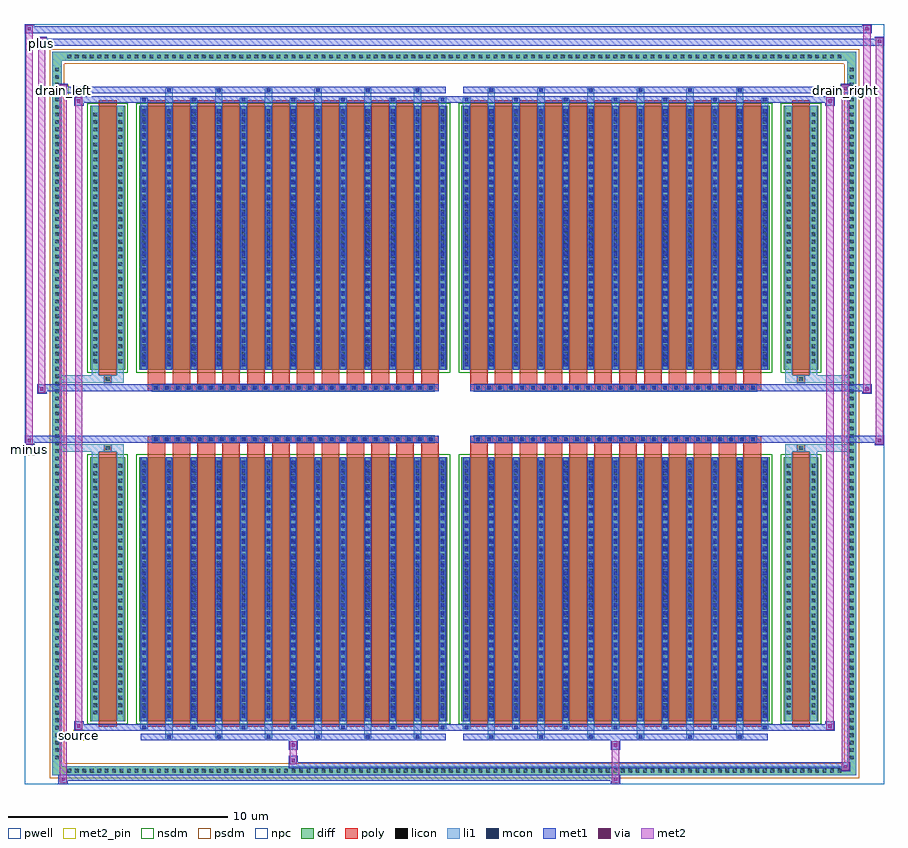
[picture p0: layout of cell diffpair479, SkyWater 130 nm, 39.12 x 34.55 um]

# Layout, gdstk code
import gdstk
lib = gdstk.Library(unit=1e-6, precision=5e-09)
def R(c, l, rs):  # rectangles x0, y0, x1, y1
    for r in rs: c.add(gdstk.rectangle(r[:2], r[2:], *l))
def A(c, l, x, y, w, h, nx, ny, dx, dy):  # array of equal rectangles
    R(c, l, [(x+i*dx, y+j*dy, x+i*dx+w, y+j*dy+h) for i in range(nx) for j in range(ny)])
def P(c, l, *ps):  # polygons
    for p in ps: c.add(gdstk.Polygon(p, *l))
pwell = (64, 44)
diff = (65, 20)
poly = (66, 20)
licon = (66, 44)
li1 = (67, 20)
mcon = (67, 44)
met1 = (68, 20)
via = (68, 44)
met2_pin = (69, 16)
met2 = (69, 20)
nsdm = (93, 44)
psdm = (94, 20)
npc = (95, 20)

diffpair479 = lib.new_cell('diffpair479')
R(diffpair479, pwell, [(-19.54,-16.84,19.54,17.71), (-16.86,-15.03,-0.01,-0.805), (0.01,-15.03,16.86,-0.805), (-16.86,0.805,-0.01,15.03), (0.01,0.805,16.86,15.03)])
A(diffpair479, diff, -17.715, -16.44, 0.41, 0.41, 104, 2, 0.34, 32.47)
A(diffpair479, diff, -18.27, -15.845, 0.41, 0.41, 1, 93, 0, 0.34)
A(diffpair479, diff, 17.86, -15.845, 0.41, 0.41, 1, 93, 0, 0.34)
R(diffpair479, diff, [(-17.715,-16.44,17.715,-16.03), (-18.27,-15.845,-17.86,15.845), (17.86,-15.845,18.27,15.845), (-16.55,-13.985,-14.97,-1.985), (-14.33,-13.985,-0.32,-1.985), (0.32,-13.985,14.33,-1.985), (14.97,-13.985,16.55,-1.985), (-16.55,1.985,-14.97,13.985), (-14.33,1.985,-0.32,13.985), (0.32,1.985,14.33,13.985), (14.97,1.985,16.55,13.985), (-17.715,16.03,17.715,16.44)])
P(diffpair479, diff, [(18.27,16.44),(-18.27,16.44),(-18.27,-16.03),(-17.86,-16.03),(-17.86,16.03),(17.86,16.03),(17.86,-16.03),(-17.86,-16.03),(-18.27,-16.03),(-18.27,-16.44),(18.27,-16.44)])
A(diffpair479, poly, -13.94, -14.235, 0.8, 12.5, 12, 2, 1.13, 15.97)
A(diffpair479, poly, 0.71, -14.235, 0.8, 12.5, 12, 2, 1.13, 15.97)
A(diffpair479, poly, -13.94, -1.735, 0.8, 0.4, 12, 2, 1.13, 3.07)
A(diffpair479, poly, 0.71, -1.735, 0.8, 0.4, 12, 2, 1.13, 3.07)
A(diffpair479, poly, -13.74, -1.335, 0.33, 0.33, 26, 2, 0.5, 2.34)
A(diffpair479, poly, 0.91, -1.335, 0.33, 0.33, 26, 2, 0.5, 2.34)
R(diffpair479, poly, [(-16.16,-14.235,-15.36,-1.735), (15.36,-14.235,16.16,-1.735), (-15.925,-1.735,-15.595,-1.405), (-15.925,-1.735,-15.595,-1.405), (15.595,-1.735,15.925,-1.405), (15.595,-1.735,15.925,-1.405), (-13.94,-1.335,-0.71,-1.005), (0.71,-1.335,13.94,-1.005), (-13.94,1.005,-0.71,1.335), (0.71,1.005,13.94,1.335), (-15.925,1.405,-15.595,1.735), (-15.925,1.405,-15.595,1.735), (15.595,1.405,15.925,1.735), (15.595,1.405,15.925,1.735), (-16.16,1.735,-15.36,14.235), (15.36,1.735,16.16,14.235)])
A(diffpair479, licon, -17.595, -16.32, 0.17, 0.17, 104, 2, 0.34, 32.47)
A(diffpair479, licon, -18.15, -15.725, 0.17, 0.17, 1, 93, 0, 0.34)
A(diffpair479, licon, 17.98, -15.725, 0.17, 0.17, 1, 93, 0, 0.34)
A(diffpair479, licon, -16.41, -13.68, 0.17, 0.17, 1, 34, 0, 0.34)
A(diffpair479, licon, -15.28, -13.68, 0.17, 0.17, 1, 34, 0, 0.34)
A(diffpair479, licon, -14.19, -13.68, 0.17, 0.17, 13, 34, 1.13, 0.34)
A(diffpair479, licon, 0.46, -13.68, 0.17, 0.17, 13, 34, 1.13, 0.34)
A(diffpair479, licon, 15.11, -13.68, 0.17, 0.17, 1, 34, 0, 0.34)
A(diffpair479, licon, 16.24, -13.68, 0.17, 0.17, 1, 34, 0, 0.34)
A(diffpair479, licon, -13.66, -1.255, 0.17, 0.17, 26, 2, 0.5, 2.34)
A(diffpair479, licon, 0.99, -1.255, 0.17, 0.17, 26, 2, 0.5, 2.34)
A(diffpair479, licon, -16.41, 2.29, 0.17, 0.17, 1, 34, 0, 0.34)
A(diffpair479, licon, -15.28, 2.29, 0.17, 0.17, 1, 34, 0, 0.34)
A(diffpair479, licon, -14.19, 2.29, 0.17, 0.17, 13, 34, 1.13, 0.34)
A(diffpair479, licon, 0.46, 2.29, 0.17, 0.17, 13, 34, 1.13, 0.34)
A(diffpair479, licon, 15.11, 2.29, 0.17, 0.17, 1, 34, 0, 0.34)
A(diffpair479, licon, 16.24, 2.29, 0.17, 0.17, 1, 34, 0, 0.34)
R(diffpair479, licon, [(-15.845,-1.655,-15.675,-1.485), (15.675,-1.655,15.845,-1.485), (-15.845,1.485,-15.675,1.655), (15.675,1.485,15.845,1.655)])
A(diffpair479, li1, -17.675, -16.4, 0.33, 0.33, 104, 2, 0.34, 32.47)
A(diffpair479, li1, -18.23, -15.805, 0.33, 0.33, 1, 93, 0, 0.34)
A(diffpair479, li1, 17.9, -15.805, 0.33, 0.33, 1, 93, 0, 0.34)
A(diffpair479, li1, -13.14, -14.79, 0.33, 0.805, 6, 2, 2.26, 28.775)
A(diffpair479, li1, -13.06, -14.79, 0.17, 0.17, 6, 2, 2.26, 29.41)
A(diffpair479, li1, 1.51, -14.79, 0.33, 0.805, 6, 2, 2.26, 28.775)
A(diffpair479, li1, 1.59, -14.79, 0.17, 0.17, 6, 2, 2.26, 29.41)
A(diffpair479, li1, -14.27, -14.36, 0.33, 0.375, 7, 2, 2.26, 28.345)
A(diffpair479, li1, -14.19, -14.36, 0.17, 0.17, 7, 2, 2.26, 28.55)
A(diffpair479, li1, 0.38, -14.36, 0.33, 0.375, 7, 2, 2.26, 28.345)
A(diffpair479, li1, 0.46, -14.36, 0.17, 0.17, 7, 2, 2.26, 28.55)
A(diffpair479, li1, -14.27, -13.985, 0.33, 12, 13, 2, 1.13, 15.97)
A(diffpair479, li1, 0.38, -13.985, 0.33, 12, 13, 2, 1.13, 15.97)
A(diffpair479, li1, -14.19, -13.83, 0.17, 0.17, 13, 33, 1.13, 0.36)
A(diffpair479, li1, -14.19, -13.83, 0.17, 11.69, 13, 2, 1.13, 15.97)
A(diffpair479, li1, 0.46, -13.83, 0.17, 0.17, 13, 33, 1.13, 0.36)
A(diffpair479, li1, 0.46, -13.83, 0.17, 11.69, 13, 2, 1.13, 15.97)
A(diffpair479, li1, -16.49, -13.76, 0.33, 0.33, 1, 34, 0, 0.34)
A(diffpair479, li1, -15.36, -13.76, 0.33, 0.33, 1, 34, 0, 0.34)
A(diffpair479, li1, -14.27, -13.76, 0.33, 0.33, 13, 34, 1.13, 0.34)
A(diffpair479, li1, 0.38, -13.76, 0.33, 0.33, 13, 34, 1.13, 0.34)
A(diffpair479, li1, 15.03, -13.76, 0.33, 0.33, 1, 34, 0, 0.34)
A(diffpair479, li1, 16.16, -13.76, 0.33, 0.33, 1, 34, 0, 0.34)
A(diffpair479, li1, -13.74, -1.335, 0.33, 0.33, 26, 2, 0.5, 2.34)
A(diffpair479, li1, 0.91, -1.335, 0.33, 0.33, 26, 2, 0.5, 2.34)
A(diffpair479, li1, -14.19, 2.14, 0.17, 0.17, 13, 33, 1.13, 0.36)
A(diffpair479, li1, 0.46, 2.14, 0.17, 0.17, 13, 33, 1.13, 0.36)
A(diffpair479, li1, -16.49, 2.21, 0.33, 0.33, 1, 34, 0, 0.34)
A(diffpair479, li1, -15.36, 2.21, 0.33, 0.33, 1, 34, 0, 0.34)
A(diffpair479, li1, -14.27, 2.21, 0.33, 0.33, 13, 34, 1.13, 0.34)
A(diffpair479, li1, 0.38, 2.21, 0.33, 0.33, 13, 34, 1.13, 0.34)
A(diffpair479, li1, 15.03, 2.21, 0.33, 0.33, 1, 34, 0, 0.34)
A(diffpair479, li1, 16.16, 2.21, 0.33, 0.33, 1, 34, 0, 0.34)
R(diffpair479, li1, [(-18.27,-16.44,-17.86,-16.03), (-18.27,-16.44,-17.86,-16.03), (-17.86,-16.44,17.86,-16.03), (17.86,-16.44,18.27,-16.03), (17.86,-16.44,18.27,-16.03), (-18.27,-16.03,-17.86,16.03), (17.86,-16.03,18.27,16.03), (-16.49,-13.985,-16.16,-1.985), (-15.36,-13.985,-15.03,-1.985), (15.03,-13.985,15.36,-1.985), (16.16,-13.985,16.49,-1.985), (-16.49,-1.985,-16.16,-1.405), (-15.36,-1.985,-15.03,-1.405), (15.03,-1.985,15.36,-1.405), (16.16,-1.985,16.49,-1.405), (-18.27,-1.735,-15.925,-1.405), (-16.49,-1.735,-15.925,-1.405), (-15.925,-1.735,-15.595,-1.405), (-15.595,-1.735,-15.03,-1.405), (15.03,-1.735,15.595,-1.405), (15.595,-1.735,15.925,-1.405), (15.595,-1.735,18.27,-1.405), (15.925,-1.735,16.49,-1.405), (-18.27,1.405,-15.925,1.735), (-16.49,1.405,-15.925,1.735), (-16.49,1.405,-16.16,1.985), (-15.925,1.405,-15.595,1.735), (-15.595,1.405,-15.03,1.735), (-15.36,1.405,-15.03,1.985), (15.03,1.405,15.595,1.735), (15.03,1.405,15.36,1.985), (15.595,1.405,15.925,1.735), (15.595,1.405,18.27,1.735), (15.925,1.405,16.49,1.735), (16.16,1.405,16.49,1.985), (-16.49,1.985,-16.16,13.985), (-15.36,1.985,-15.03,13.985), (15.03,1.985,15.36,13.985), (16.16,1.985,16.49,13.985), (-18.27,16.03,-17.86,16.44), (-18.27,16.03,-17.86,16.44), (-17.86,16.03,17.86,16.44), (17.86,16.03,18.27,16.44), (17.86,16.03,18.27,16.44)])
A(diffpair479, mcon, -13.06, -14.79, 0.17, 0.17, 6, 2, 2.26, 29.41)
A(diffpair479, mcon, 1.59, -14.79, 0.17, 0.17, 6, 2, 2.26, 29.41)
A(diffpair479, mcon, -14.19, -14.36, 0.17, 0.17, 7, 2, 2.26, 28.55)
A(diffpair479, mcon, 0.46, -14.36, 0.17, 0.17, 7, 2, 2.26, 28.55)
A(diffpair479, mcon, -14.19, -13.83, 0.17, 0.17, 13, 33, 1.13, 0.36)
A(diffpair479, mcon, 0.46, -13.83, 0.17, 0.17, 13, 33, 1.13, 0.36)
A(diffpair479, mcon, -13.66, -1.255, 0.17, 0.17, 26, 2, 0.5, 2.34)
A(diffpair479, mcon, 0.99, -1.255, 0.17, 0.17, 26, 2, 0.5, 2.34)
A(diffpair479, mcon, -14.19, 2.14, 0.17, 0.17, 13, 33, 1.13, 0.36)
A(diffpair479, mcon, 0.46, 2.14, 0.17, 0.17, 13, 33, 1.13, 0.36)
A(diffpair479, met1, -13.12, -14.85, 0.29, 0.29, 6, 2, 2.26, 29.41)
A(diffpair479, met1, 1.53, -14.85, 0.29, 0.29, 6, 2, 2.26, 29.41)
A(diffpair479, met1, -14.25, -14.42, 0.29, 0.29, 7, 2, 2.26, 28.55)
A(diffpair479, met1, 0.4, -14.42, 0.29, 0.29, 7, 2, 2.26, 28.55)
A(diffpair479, met1, -14.25, -13.985, 0.29, 12, 13, 2, 1.13, 15.97)
A(diffpair479, met1, 0.4, -13.985, 0.29, 12, 13, 2, 1.13, 15.97)
A(diffpair479, met1, -14.25, -13.89, 0.29, 0.29, 13, 33, 1.13, 0.36)
A(diffpair479, met1, 0.4, -13.89, 0.29, 0.29, 13, 33, 1.13, 0.36)
A(diffpair479, met1, -13.72, -1.315, 0.29, 0.29, 26, 2, 0.5, 2.34)
A(diffpair479, met1, 0.93, -1.315, 0.29, 0.29, 26, 2, 0.5, 2.34)
A(diffpair479, met1, -14.25, 2.08, 0.29, 0.29, 13, 33, 1.13, 0.36)
A(diffpair479, met1, 0.4, 2.08, 0.29, 0.29, 13, 33, 1.13, 0.36)
R(diffpair479, met1, [(-18,-16.84,-17.57,-16.41), (7.11,-16.84,7.54,-16.41), (-18,-16.7,7.54,-16.41), (17.57,-16.27,18,-15.84), (-7.54,-16.13,18,-15.84), (-7.54,-15.99,-7.11,-15.56), (-7.54,-15.28,-7.11,-14.85), (7.11,-15.28,7.54,-14.85), (-14.25,-14.85,-0.4,-14.56), (0.4,-14.85,14.25,-14.56), (-17.29,-14.42,-16.86,-13.99), (-17.29,-14.42,-14.25,-14.13), (-14.25,-14.42,-0.4,-14.13), (-0.4,-14.42,0.4,-14.13), (0.4,-14.42,14.25,-14.13), (14.25,-14.42,17.29,-14.13), (16.86,-14.42,17.29,-13.99), (-19.54,-1.435,-19.11,-1.005), (19.11,-1.435,19.54,-1.005), (-19.54,-1.335,-0.71,-1.005), (-13.94,-1.335,-0.71,-1.005), (0.71,-1.335,13.94,-1.005), (0.71,-1.335,19.54,-1.005), (-18.97,0.905,-18.54,1.335), (18.54,0.905,18.97,1.335), (-18.97,1.005,-13.94,1.335), (-13.94,1.005,-0.71,1.335), (0.71,1.005,13.94,1.335), (13.94,1.005,18.97,1.335), (-17.29,13.99,-16.86,14.42), (16.86,13.99,17.29,14.42), (-17.29,14.13,-14.25,14.42), (-14.25,14.13,-0.4,14.42), (-0.4,14.13,0.4,14.42), (0.4,14.13,14.25,14.42), (14.25,14.13,17.29,14.42), (-18,14.56,-17.57,14.99), (-18,14.56,-14.25,14.85), (-14.25,14.56,-0.4,14.85), (0.4,14.56,14.25,14.85), (14.25,14.56,18,14.85), (17.57,14.56,18,14.99), (-18.97,16.71,-18.54,17.14), (-18.97,16.71,-16.86,17.04), (-16.86,16.71,16.86,17.04), (16.86,16.71,19.54,17.04), (19.11,16.71,19.54,17.14), (-19.54,17.28,-19.11,17.71), (-19.54,17.28,-16.86,17.61), (-16.86,17.28,16.86,17.61), (16.86,17.28,18.97,17.61), (18.54,17.28,18.97,17.71)])
R(diffpair479, via, [(-17.86,-16.7,-17.71,-16.55), (7.25,-16.7,7.4,-16.55), (17.71,-16.13,17.86,-15.98), (-7.4,-15.85,-7.25,-15.7), (-7.4,-15.14,-7.25,-14.99), (7.25,-15.14,7.4,-14.99), (-17.15,-14.28,-17,-14.13), (17,-14.28,17.15,-14.13), (-19.4,-1.295,-19.25,-1.145), (19.25,-1.295,19.4,-1.145), (-18.83,1.045,-18.68,1.195), (18.68,1.045,18.83,1.195), (-17.15,14.13,-17,14.28), (17,14.13,17.15,14.28), (-17.86,14.7,-17.71,14.85), (17.71,14.7,17.86,14.85), (-18.83,16.85,-18.68,17), (19.25,16.85,19.4,17), (-19.4,17.42,-19.25,17.57), (18.68,17.42,18.83,17.57)])
R(diffpair479, met2_pin, [(-17.325,-14.87,-16.825,-14.37), (-19.575,-1.885,-19.075,-1.385), (-18.035,14.44,-17.535,14.94), (17.535,14.44,18.035,14.94), (-19.005,16.59,-18.505,17.09)])
R(diffpair479, met2, [(-17.95,-16.79,-17.62,-16.46), (-17.95,-16.79,-17.62,14.94), (7.16,-16.79,7.49,-16.46), (7.16,-16.46,7.49,-15.23), (17.62,-16.22,17.95,-15.89), (17.62,-16.22,17.95,14.94), (-7.49,-15.94,-7.16,-15.61), (-7.49,-15.61,-7.16,-15.23), (-7.49,-15.23,-7.16,-14.9), (7.16,-15.23,7.49,-14.9), (-17.24,-14.37,-16.91,-14.04), (-17.24,-14.37,-16.91,14.37), (16.91,-14.37,17.24,-14.04), (16.91,-14.37,17.24,14.37), (-19.49,-1.385,-19.16,-1.055), (-19.49,-1.385,-19.16,17.66), (19.16,-1.385,19.49,-1.055), (19.16,-1.385,19.49,17.09), (-18.92,0.955,-18.59,1.285), (-18.92,0.955,-18.59,17.09), (18.59,0.955,18.92,1.285), (18.59,0.955,18.92,17.66), (-17.24,14.04,-16.91,14.37), (16.91,14.04,17.24,14.37), (-17.95,14.61,-17.62,14.94), (17.62,14.61,17.95,14.94), (-18.92,16.76,-18.59,17.09), (19.16,16.76,19.49,17.09), (-19.49,17.33,-19.16,17.66), (18.59,17.33,18.92,17.66)])
P(diffpair479, met2, [(19.49,-1.385),(19.49,-1.385),(19.49,-1.055),(19.49,-1.055)],
  [(19.49,16.76),(19.49,16.76),(19.49,17.09),(19.49,17.09)],
  [(-19.16,-1.385),(-19.16,-1.385),(-19.16,-1.055),(-19.16,-1.055)],
  [(-19.16,17.33),(-19.16,17.33),(-19.16,17.66),(-19.16,17.66)],
  [(18.92,0.955),(18.92,0.955),(18.92,1.285),(18.92,1.285)],
  [(18.92,17.33),(18.92,17.33),(18.92,17.66),(18.92,17.66)],
  [(-18.59,0.955),(-18.59,0.955),(-18.59,1.285),(-18.59,1.285)],
  [(-18.59,16.76),(-18.59,16.76),(-18.59,17.09),(-18.59,17.09)],
  [(-17.62,-16.79),(-17.62,-16.79),(-17.62,-16.46),(-17.62,-16.46)],
  [(-17.62,14.61),(-17.62,14.61),(-17.62,14.94),(-17.62,14.94)],
  [(17.95,-16.22),(17.95,-16.22),(17.95,-15.89),(17.95,-15.89)],
  [(17.95,14.61),(17.95,14.61),(17.95,14.94),(17.95,14.94)],
  [(-16.91,-14.37),(-16.91,-14.37),(-16.91,-14.04),(-16.91,-14.04)],
  [(-16.91,14.04),(-16.91,14.04),(-16.91,14.37),(-16.91,14.37)],
  [(17.24,-14.37),(17.24,-14.37),(17.24,-14.04),(17.24,-14.04)],
  [(17.24,14.04),(17.24,14.04),(17.24,14.37),(17.24,14.37)])
R(diffpair479, nsdm, [(-16.68,-14.115,-14.84,-1.855), (-14.46,-14.115,-0.19,-1.855), (0.19,-14.115,14.46,-1.855), (14.84,-14.115,16.68,-1.855), (-16.68,1.855,-14.84,14.115), (-14.46,1.855,-0.19,14.115), (0.19,1.855,14.46,14.115), (14.84,1.855,16.68,14.115)])
P(diffpair479, psdm, [(18.4,16.57),(-18.4,16.57),(-18.4,-15.9),(-17.73,-15.9),(-17.73,15.9),(17.73,15.9),(17.73,-15.9),(-17.73,-15.9),(-18.4,-15.9),(-18.4,-16.57),(18.4,-16.57)])
A(diffpair479, npc, -13.76, -1.355, 0.37, 0.37, 26, 2, 0.5, 2.34)
A(diffpair479, npc, 0.89, -1.355, 0.37, 0.37, 26, 2, 0.5, 2.34)
R(diffpair479, npc, [(-15.945,-1.755,-15.575,-1.385), (15.575,-1.755,15.945,-1.385), (-13.76,-1.355,-12.89,-0.985), (-13.76,-1.355,-12.89,-0.985), (-13.26,-1.355,-12.39,-0.985), (-13.26,-1.355,-12.39,-0.985), (-12.76,-1.355,-11.89,-0.985), (-12.76,-1.355,-11.89,-0.985), (-12.26,-1.355,-11.39,-0.985), (-12.26,-1.355,-11.39,-0.985), (-11.76,-1.355,-10.89,-0.985), (-11.76,-1.355,-10.89,-0.985), (-11.26,-1.355,-10.39,-0.985), (-11.26,-1.355,-10.39,-0.985), (-10.76,-1.355,-9.89,-0.985), (-10.76,-1.355,-9.89,-0.985), (-10.26,-1.355,-9.39,-0.985), (-10.26,-1.355,-9.39,-0.985), (-9.76,-1.355,-8.89,-0.985), (-9.76,-1.355,-8.89,-0.985), (-9.26,-1.355,-8.39,-0.985), (-9.26,-1.355,-8.39,-0.985), (-8.76,-1.355,-7.89,-0.985), (-8.76,-1.355,-7.89,-0.985), (-8.26,-1.355,-7.39,-0.985), (-8.26,-1.355,-7.39,-0.985), (-7.76,-1.355,-6.89,-0.985), (-7.76,-1.355,-6.89,-0.985), (-7.26,-1.355,-6.39,-0.985), (-7.26,-1.355,-6.39,-0.985), (-6.76,-1.355,-5.89,-0.985), (-6.76,-1.355,-5.89,-0.985), (-6.26,-1.355,-5.39,-0.985), (-6.26,-1.355,-5.39,-0.985), (-5.76,-1.355,-4.89,-0.985), (-5.76,-1.355,-4.89,-0.985), (-5.26,-1.355,-4.39,-0.985), (-5.26,-1.355,-4.39,-0.985), (-4.76,-1.355,-3.89,-0.985), (-4.76,-1.355,-3.89,-0.985), (-4.26,-1.355,-3.39,-0.985), (-4.26,-1.355,-3.39,-0.985), (-3.76,-1.355,-2.89,-0.985), (-3.76,-1.355,-2.89,-0.985), (-3.26,-1.355,-2.39,-0.985), (-3.26,-1.355,-2.39,-0.985), (-2.76,-1.355,-1.89,-0.985), (-2.76,-1.355,-1.89,-0.985), (-2.26,-1.355,-1.39,-0.985), (-2.26,-1.355,-1.39,-0.985), (-1.76,-1.355,-0.89,-0.985), (-1.76,-1.355,-0.89,-0.985), (0.89,-1.355,1.76,-0.985), (0.89,-1.355,1.76,-0.985), (1.39,-1.355,2.26,-0.985), (1.39,-1.355,2.26,-0.985), (1.89,-1.355,2.76,-0.985), (1.89,-1.355,2.76,-0.985), (2.39,-1.355,3.26,-0.985), (2.39,-1.355,3.26,-0.985), (2.89,-1.355,3.76,-0.985), (2.89,-1.355,3.76,-0.985), (3.39,-1.355,4.26,-0.985), (3.39,-1.355,4.26,-0.985), (3.89,-1.355,4.76,-0.985), (3.89,-1.355,4.76,-0.985), (4.39,-1.355,5.26,-0.985), (4.39,-1.355,5.26,-0.985), (4.89,-1.355,5.76,-0.985), (4.89,-1.355,5.76,-0.985), (5.39,-1.355,6.26,-0.985), (5.39,-1.355,6.26,-0.985), (5.89,-1.355,6.76,-0.985), (5.89,-1.355,6.76,-0.985), (6.39,-1.355,7.26,-0.985), (6.39,-1.355,7.26,-0.985), (6.89,-1.355,7.76,-0.985), (6.89,-1.355,7.76,-0.985), (7.39,-1.355,8.26,-0.985), (7.39,-1.355,8.26,-0.985), (7.89,-1.355,8.76,-0.985), (7.89,-1.355,8.76,-0.985), (8.39,-1.355,9.26,-0.985), (8.39,-1.355,9.26,-0.985), (8.89,-1.355,9.76,-0.985), (8.89,-1.355,9.76,-0.985), (9.39,-1.355,10.26,-0.985), (9.39,-1.355,10.26,-0.985), (9.89,-1.355,10.76,-0.985), (9.89,-1.355,10.76,-0.985), (10.39,-1.355,11.26,-0.985), (10.39,-1.355,11.26,-0.985), (10.89,-1.355,11.76,-0.985), (10.89,-1.355,11.76,-0.985), (11.39,-1.355,12.26,-0.985), (11.39,-1.355,12.26,-0.985), (11.89,-1.355,12.76,-0.985), (11.89,-1.355,12.76,-0.985), (12.39,-1.355,13.26,-0.985), (12.39,-1.355,13.26,-0.985), (12.89,-1.355,13.76,-0.985), (12.89,-1.355,13.76,-0.985), (-13.76,0.985,-12.89,1.355), (-13.76,0.985,-12.89,1.355), (-13.26,0.985,-12.39,1.355), (-13.26,0.985,-12.39,1.355), (-12.76,0.985,-11.89,1.355), (-12.76,0.985,-11.89,1.355), (-12.26,0.985,-11.39,1.355), (-12.26,0.985,-11.39,1.355), (-11.76,0.985,-10.89,1.355), (-11.76,0.985,-10.89,1.355), (-11.26,0.985,-10.39,1.355), (-11.26,0.985,-10.39,1.355), (-10.76,0.985,-9.89,1.355), (-10.76,0.985,-9.89,1.355), (-10.26,0.985,-9.39,1.355), (-10.26,0.985,-9.39,1.355), (-9.76,0.985,-8.89,1.355), (-9.76,0.985,-8.89,1.355), (-9.26,0.985,-8.39,1.355), (-9.26,0.985,-8.39,1.355), (-8.76,0.985,-7.89,1.355), (-8.76,0.985,-7.89,1.355), (-8.26,0.985,-7.39,1.355), (-8.26,0.985,-7.39,1.355), (-7.76,0.985,-6.89,1.355), (-7.76,0.985,-6.89,1.355), (-7.26,0.985,-6.39,1.355), (-7.26,0.985,-6.39,1.355), (-6.76,0.985,-5.89,1.355), (-6.76,0.985,-5.89,1.355), (-6.26,0.985,-5.39,1.355), (-6.26,0.985,-5.39,1.355), (-5.76,0.985,-4.89,1.355), (-5.76,0.985,-4.89,1.355), (-5.26,0.985,-4.39,1.355), (-5.26,0.985,-4.39,1.355), (-4.76,0.985,-3.89,1.355), (-4.76,0.985,-3.89,1.355), (-4.26,0.985,-3.39,1.355), (-4.26,0.985,-3.39,1.355), (-3.76,0.985,-2.89,1.355), (-3.76,0.985,-2.89,1.355), (-3.26,0.985,-2.39,1.355), (-3.26,0.985,-2.39,1.355), (-2.76,0.985,-1.89,1.355), (-2.76,0.985,-1.89,1.355), (-2.26,0.985,-1.39,1.355), (-2.26,0.985,-1.39,1.355), (-1.76,0.985,-0.89,1.355), (-1.76,0.985,-0.89,1.355), (0.89,0.985,1.76,1.355), (0.89,0.985,1.76,1.355), (1.39,0.985,2.26,1.355), (1.39,0.985,2.26,1.355), (1.89,0.985,2.76,1.355), (1.89,0.985,2.76,1.355), (2.39,0.985,3.26,1.355), (2.39,0.985,3.26,1.355), (2.89,0.985,3.76,1.355), (2.89,0.985,3.76,1.355), (3.39,0.985,4.26,1.355), (3.39,0.985,4.26,1.355), (3.89,0.985,4.76,1.355), (3.89,0.985,4.76,1.355), (4.39,0.985,5.26,1.355), (4.39,0.985,5.26,1.355), (4.89,0.985,5.76,1.355), (4.89,0.985,5.76,1.355), (5.39,0.985,6.26,1.355), (5.39,0.985,6.26,1.355), (5.89,0.985,6.76,1.355), (5.89,0.985,6.76,1.355), (6.39,0.985,7.26,1.355), (6.39,0.985,7.26,1.355), (6.89,0.985,7.76,1.355), (6.89,0.985,7.76,1.355), (7.39,0.985,8.26,1.355), (7.39,0.985,8.26,1.355), (7.89,0.985,8.76,1.355), (7.89,0.985,8.76,1.355), (8.39,0.985,9.26,1.355), (8.39,0.985,9.26,1.355), (8.89,0.985,9.76,1.355), (8.89,0.985,9.76,1.355), (9.39,0.985,10.26,1.355), (9.39,0.985,10.26,1.355), (9.89,0.985,10.76,1.355), (9.89,0.985,10.76,1.355), (10.39,0.985,11.26,1.355), (10.39,0.985,11.26,1.355), (10.89,0.985,11.76,1.355), (10.89,0.985,11.76,1.355), (11.39,0.985,12.26,1.355), (11.39,0.985,12.26,1.355), (11.89,0.985,12.76,1.355), (11.89,0.985,12.76,1.355), (12.39,0.985,13.26,1.355), (12.39,0.985,13.26,1.355), (12.89,0.985,13.76,1.355), (12.89,0.985,13.76,1.355), (-15.945,1.385,-15.575,1.755), (15.575,1.385,15.945,1.755)])
diffpair479.add(gdstk.Label('minus', (-19.325,-1.635), layer=69, texttype=5))
diffpair479.add(gdstk.Label('drain_right', (17.785,14.69), layer=69, texttype=5))
diffpair479.add(gdstk.Label('drain_left', (-17.785,14.69), layer=69, texttype=5))
diffpair479.add(gdstk.Label('source', (-17.075,-14.62), layer=69, texttype=5))
diffpair479.add(gdstk.Label('plus', (-18.755,16.84), layer=69, texttype=5))

lib.write_gds('diffpair479.gds')
